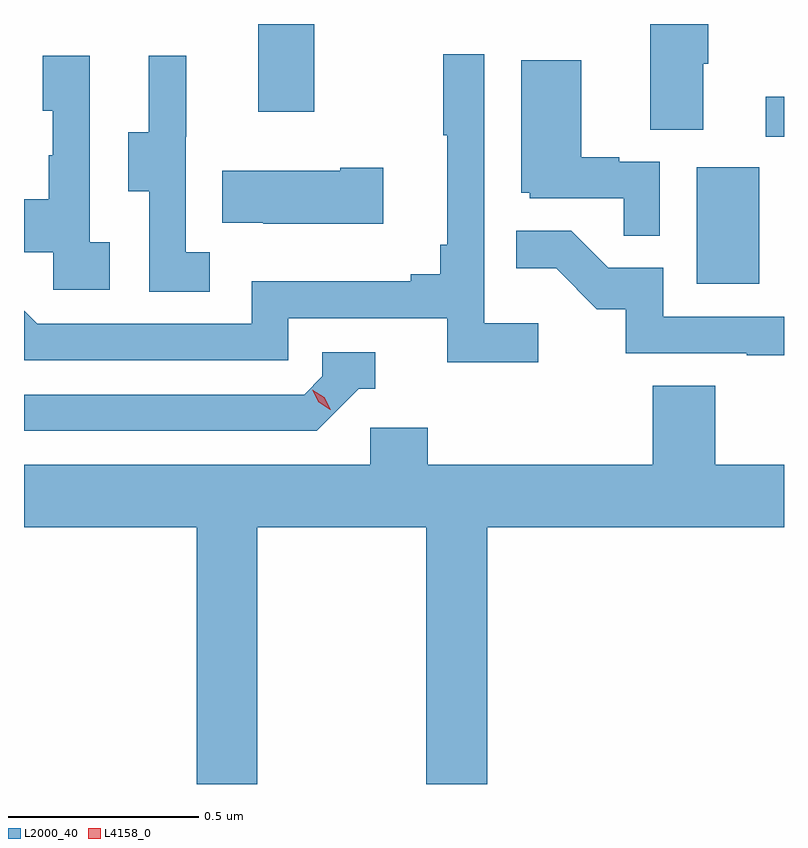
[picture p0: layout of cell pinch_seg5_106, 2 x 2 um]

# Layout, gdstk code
import gdstk
lib = gdstk.Library(unit=1e-6, precision=1e-09)
def R(c, l, rs):  # rectangles x0, y0, x1, y1
    for r in rs: c.add(gdstk.rectangle(r[:2], r[2:], *l))
def P(c, l, *ps):  # polygons
    for p in ps: c.add(gdstk.Polygon(p, *l))
L2000_40 = (2000, 40)
L4158_0 = (4158, 0)

pinch_seg5_106 = lib.new_cell('pinch_seg5_106')
R(pinch_seg5_106, L2000_40, [(1039.598,888.036,1039.762,888.343), (1039.779,888.423,1039.827,888.529), (1038.443,888.489,1038.591,888.72)])
P(pinch_seg5_106, L2000_40, [(1039.615,888.616),(1039.628,888.616),(1039.628,888.72),(1039.475,888.72),(1039.475,888.442),(1039.615,888.442)],
  [(1039.18,887.932),(1039.038,887.932),(1039.038,888.64),(1038.93,888.64),(1038.93,888.427),(1038.941,888.427),(1038.941,888.139),(1038.922,888.139),(1038.922,888.062),(1038.845,888.062),(1038.845,888.043),(1038.426,888.043),(1038.426,887.931),(1037.862,887.931),(1037.827,887.966),(1037.827,887.835),(1038.522,887.835),(1038.522,887.946),(1038.941,887.946),(1038.941,887.83),(1039.18,887.83)],
  [(1038.052,888.146),(1038,888.146),(1038,888.637),(1037.876,888.637),(1037.876,888.492),(1037.902,888.492),(1037.902,888.374),(1037.892,888.374),(1037.892,888.259),(1037.827,888.259),(1037.827,888.119),(1037.904,888.119),(1037.904,888.021),(1038.052,888.021)],
  [(1038.316,888.119),(1038.252,888.119),(1038.252,888.423),(1038.254,888.423),(1038.254,888.637),(1038.155,888.637),(1038.155,888.435),(1038.101,888.435),(1038.101,888.28),(1038.156,888.28),(1038.156,888.016),(1038.316,888.016)],
  [(1039.5,888.357),(1039.394,888.357),(1039.394,888.37),(1039.294,888.37),(1039.294,888.625),(1039.136,888.625),(1039.136,888.276),(1039.158,888.276),(1039.158,888.261),(1039.405,888.261),(1039.405,888.163),(1039.5,888.163)],
  [(1038.772,888.342),(1038.659,888.342),(1038.659,888.334),(1038.349,888.334),(1038.349,888.197),(1038.457,888.197),(1038.457,888.194),(1038.772,888.194)],
  [(1039.827,887.949),(1039.509,887.949),(1039.509,888.078),(1039.365,888.078),(1039.267,888.176),(1039.123,888.176),(1039.123,888.077),(1039.227,888.077),(1039.334,887.97),(1039.411,887.97),(1039.411,887.853),(1039.729,887.853),(1039.729,887.848),(1039.827,887.848)],
  [(1038.708,887.76),(1038.751,887.76),(1038.751,887.856),(1038.612,887.856),(1038.612,887.793),(1038.564,887.745),(1037.827,887.745),(1037.827,887.649),(1038.597,887.649)],
  [(1038.441,887.396),(1038.886,887.396),(1038.886,886.72),(1039.046,886.72),(1039.046,887.396),(1039.827,887.396),(1039.827,887.56),(1039.646,887.56),(1039.646,887.768),(1039.481,887.768),(1039.481,887.56),(1038.89,887.56),(1038.89,887.658),(1038.738,887.658),(1038.738,887.56),(1037.827,887.56),(1037.827,887.396),(1038.281,887.396),(1038.281,886.72),(1038.441,886.72)])
P(pinch_seg5_106, L4158_0, [(1038.633,887.705),(1038.602,887.725),(1038.586,887.758),(1038.586,887.758),(1038.586,887.758),(1038.617,887.738),(1038.634,887.705),(1038.634,887.705)])

lib.write_gds('pinch_seg5_106.gds')
